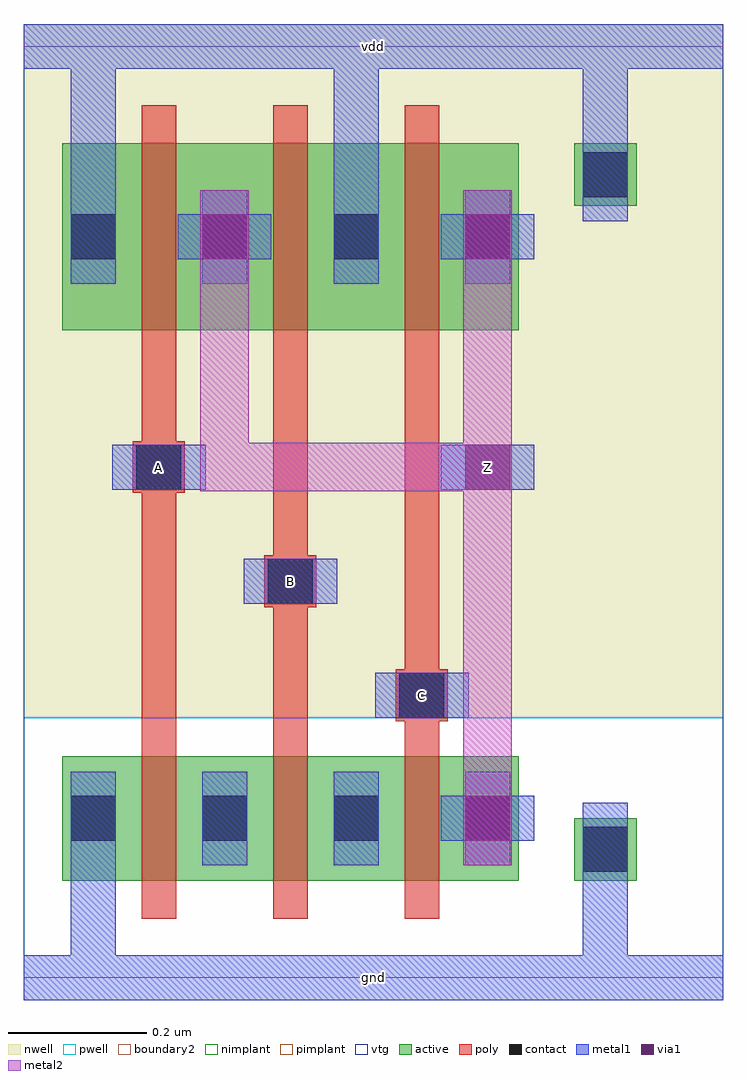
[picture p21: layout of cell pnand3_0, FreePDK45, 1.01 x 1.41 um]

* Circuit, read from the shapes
.subckt pnand3_0 A B C Z gnd vdd
M1 nmos_m1_w0_180_a_p_3/D A gnd gnd nfet w=0.18u l=0.05u
M2 nmos_m1_w0_180_a_p_4/D B nmos_m1_w0_180_a_p_3/D gnd nfet w=0.18u l=0.05u
M3 Z C nmos_m1_w0_180_a_p_4/D gnd nfet w=0.18u l=0.05u
M4 Z A vdd vdd pfet w=0.27u l=0.05u
M5 vdd B Z vdd pfet w=0.27u l=0.05u
M6 Z C vdd vdd pfet w=0.27u l=0.05u
.ends

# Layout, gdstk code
import gdstk
lib = gdstk.Library(unit=1e-6, precision=5e-10)
def R(c, l, rs):  # rectangles x0, y0, x1, y1
    for r in rs: c.add(gdstk.rectangle(r[:2], r[2:], *l))
def A(c, l, x, y, w, h, nx, ny, dx, dy):  # array of equal rectangles
    R(c, l, [(x+i*dx, y+j*dy, x+i*dx+w, y+j*dy+h) for i in range(nx) for j in range(ny)])
active = (1, 0)
pwell = (2, 0)
nwell = (3, 0)
nimplant = (4, 0)
pimplant = (5, 0)
vtg = (6, 0)
poly = (9, 0)
contact = (10, 0)
metal1 = (11, 0)
via1 = (12, 0)
metal2 = (13, 0)
boundary2 = (239, 0)

contact_9 = lib.new_cell('contact_9')
R(contact_9, active, [(0,0.0225,0.09,0.1125)])
R(contact_9, nwell, [(-0.055,-0.0325,0.145,0.1675)])
R(contact_9, pimplant, [(0,0.0225,0.09,0.1125)])
R(contact_9, contact, [(0.0125,0.035,0.0775,0.1)])
R(contact_9, metal1, [(0.0125,0,0.0775,0.135)])

pmos_m1_w0_270_a_p = lib.new_cell('pmos_m1_w0_270_a_p')
R(pmos_m1_w0_270_a_p, active, [(0,0,0.28,0.27)])
R(pmos_m1_w0_270_a_p, nwell, [(-0.055,-0.055,0.335,0.325)])
R(pmos_m1_w0_270_a_p, pimplant, [(0,0,0.28,0.27)])
R(pmos_m1_w0_270_a_p, vtg, [(-0.055,-0.055,0.335,0.325)])
R(pmos_m1_w0_270_a_p, poly, [(0.115,-0.055,0.165,0.325), (0.115,-0.055,0.165,0.325)])
R(pmos_m1_w0_270_a_p, metal1, [(0.0125,0.0675,0.0775,0.2025), (0.2025,0.0675,0.2675,0.2025)])
pmos_m1_w0_270_a_p.add(gdstk.Reference(contact_9, (0,0.0675)))
pmos_m1_w0_270_a_p.add(gdstk.Reference(contact_9, (0.19,0.0675)))
pmos_m1_w0_270_a_p.add(gdstk.Label('G', (0.14,0.135), layer=9, texttype=0))
pmos_m1_w0_270_a_p.add(gdstk.Label('S', (0.045,0.135), layer=11, texttype=0))
pmos_m1_w0_270_a_p.add(gdstk.Label('D', (0.235,0.135), layer=11, texttype=0))

contact_14 = lib.new_cell('contact_14')
R(contact_14, active, [(0,0.0225,0.09,0.1125)])
R(contact_14, pwell, [(-0.055,-0.0325,0.145,0.1675)])
R(contact_14, nimplant, [(0,0.0225,0.09,0.1125)])
R(contact_14, contact, [(0.0125,0.035,0.0775,0.1)])
R(contact_14, metal1, [(0.0125,0,0.0775,0.135)])

nmos_m1_w0_180_a_p = lib.new_cell('nmos_m1_w0_180_a_p')
R(nmos_m1_w0_180_a_p, active, [(0,0,0.28,0.18)])
R(nmos_m1_w0_180_a_p, pwell, [(-0.055,-0.055,0.335,0.235)])
R(nmos_m1_w0_180_a_p, nimplant, [(0,0,0.28,0.18)])
R(nmos_m1_w0_180_a_p, vtg, [(-0.055,-0.055,0.335,0.235)])
R(nmos_m1_w0_180_a_p, poly, [(0.115,-0.055,0.165,0.235), (0.115,-0.055,0.165,0.235)])
R(nmos_m1_w0_180_a_p, metal1, [(0.0125,0.0225,0.0775,0.1575), (0.2025,0.0225,0.2675,0.1575)])
nmos_m1_w0_180_a_p.add(gdstk.Reference(contact_14, (0,0.0225)))
nmos_m1_w0_180_a_p.add(gdstk.Reference(contact_14, (0.19,0.0225)))
nmos_m1_w0_180_a_p.add(gdstk.Label('G', (0.14,0.09), layer=9, texttype=0))
nmos_m1_w0_180_a_p.add(gdstk.Label('S', (0.045,0.09), layer=11, texttype=0))
nmos_m1_w0_180_a_p.add(gdstk.Label('D', (0.235,0.09), layer=11, texttype=0))

contact_18 = lib.new_cell('contact_18')
R(contact_18, active, [(0,0.0225,0.09,0.1125)])
R(contact_18, nwell, [(-0.055,-0.0325,0.145,0.1675)])
R(contact_18, nimplant, [(0,0.0225,0.09,0.1125)])
R(contact_18, contact, [(0.0125,0.035,0.0775,0.1)])
R(contact_18, metal1, [(0.0125,0,0.0775,0.135)])

contact_19 = lib.new_cell('contact_19')
R(contact_19, active, [(0,0.0225,0.09,0.1125)])
R(contact_19, pwell, [(-0.055,-0.0325,0.145,0.1675)])
R(contact_19, pimplant, [(0,0.0225,0.09,0.1125)])
R(contact_19, contact, [(0.0125,0.035,0.0775,0.1)])
R(contact_19, metal1, [(0.0125,0,0.0775,0.135)])

contact_10 = lib.new_cell('contact_10')
R(contact_10, poly, [(0.03,0,0.105,0.075)])
R(contact_10, contact, [(0.035,0.005,0.1,0.07)])
R(contact_10, metal1, [(0,0.005,0.135,0.07)])

contact_16 = lib.new_cell('contact_16')
R(contact_16, metal1, [(0,0.035,0.135,0.1)])
R(contact_16, via1, [(0.035,0.035,0.1,0.1)])
R(contact_16, metal2, [(0.0325,0,0.1025,0.135)])

pnand3_0 = lib.new_cell('pnand3_0')
R(pnand3_0, pwell, [(0,-0.0325,1.01,0.375)])
R(pnand3_0, nwell, [(0,0.375,1.01,1.3775)])
R(pnand3_0, vtg, [(0,-0.0325,1.01,0.375), (0,0.375,1.01,1.3775)])
A(pnand3_0, poly, 0.17, 0.085, 0.05, 0.795, 3, 1, 0.19, 0)
R(pnand3_0, poly, [(0.55,0.37,0.575,0.445), (0.36,0.535,0.385,0.61), (0.17,0.7,0.195,0.775)])
R(pnand3_0, metal1, [(0,-0.0325,1.01,0.0325), (0.0675,-0.0325,0.1325,0.1625), (0.8075,0,0.8725,0.185), (0.5075,0.375,0.6425,0.44), (0.3175,0.54,0.4525,0.605), (0.1275,0.705,0.2625,0.77), (0.6025,0.705,0.7375,0.77), (0.0675,1.0025,0.1325,1.3775), (0.4475,1.0025,0.5125,1.3775), (0.8075,1.16,0.8725,1.345), (0,1.3125,1.01,1.3775)])
R(pnand3_0, metal2, [(0.635,0.2975,0.705,1.0025), (0.635,0.2975,0.705,0.7375), (0.255,0.7025,0.325,0.7725), (0.29,0.7025,0.67,0.7725), (0.635,0.7025,0.705,0.7725), (0.255,0.7375,0.325,1.0025)])
R(pnand3_0, boundary2, [(0,0,1.01,1.345)])
pnand3_0.add(gdstk.Reference(pmos_m1_w0_270_a_p, (0.055,0.935)))
pnand3_0.add(gdstk.Reference(pmos_m1_w0_270_a_p, (0.245,0.935)))
pnand3_0.add(gdstk.Reference(pmos_m1_w0_270_a_p, (0.435,0.935)))
pnand3_0.add(gdstk.Reference(nmos_m1_w0_180_a_p, (0.055,0.14)))
pnand3_0.add(gdstk.Reference(nmos_m1_w0_180_a_p, (0.245,0.14)))
pnand3_0.add(gdstk.Reference(nmos_m1_w0_180_a_p, (0.435,0.14)))
pnand3_0.add(gdstk.Reference(contact_18, (0.795,1.0925)))
pnand3_0.add(gdstk.Reference(contact_19, (0.795,0.1175)))
pnand3_0.add(gdstk.Reference(contact_10, (0.5075,0.37)))
pnand3_0.add(gdstk.Reference(contact_10, (0.3175,0.535)))
pnand3_0.add(gdstk.Reference(contact_10, (0.1275,0.7)))
pnand3_0.add(gdstk.Reference(contact_16, (0.2225,1.0025)))
pnand3_0.add(gdstk.Reference(contact_16, (0.6025,1.0025)))
pnand3_0.add(gdstk.Reference(contact_16, (0.6025,0.1625)))
pnand3_0.add(gdstk.Reference(contact_16, (0.6025,0.67)))
pnand3_0.add(gdstk.Label('gnd', (0.505,0), layer=11, texttype=0))
pnand3_0.add(gdstk.Label('vdd', (0.505,1.345), layer=11, texttype=0))
pnand3_0.add(gdstk.Label('C', (0.575,0.4075), layer=11, texttype=0))
pnand3_0.add(gdstk.Label('B', (0.385,0.5725), layer=11, texttype=0))
pnand3_0.add(gdstk.Label('A', (0.195,0.7375), layer=11, texttype=0))
pnand3_0.add(gdstk.Label('Z', (0.67,0.7375), layer=11, texttype=0))

lib.write_gds('pnand3_0.gds')
